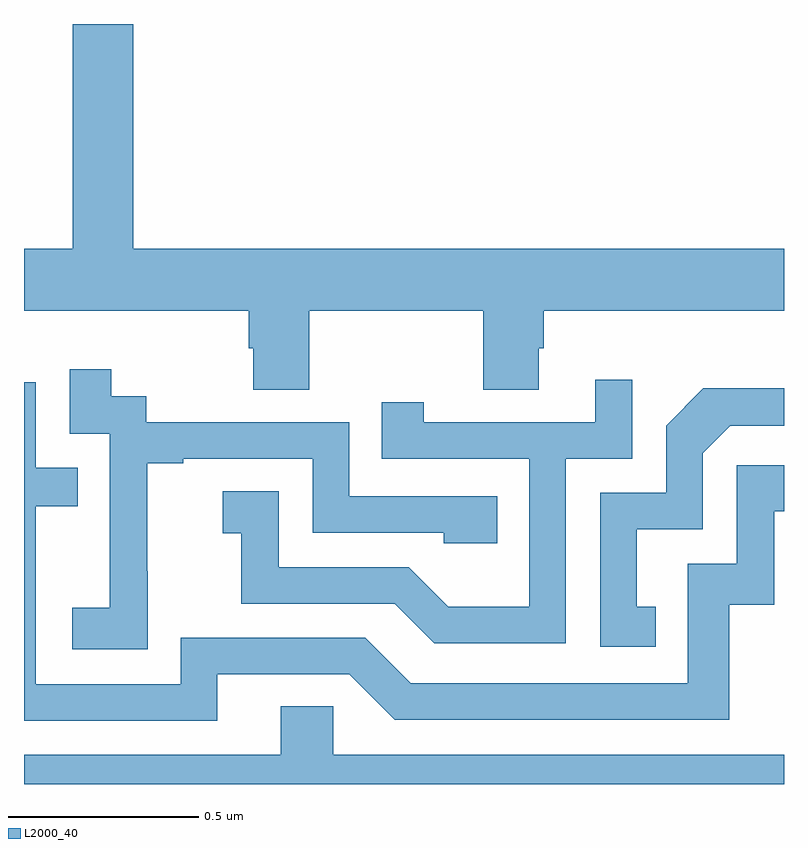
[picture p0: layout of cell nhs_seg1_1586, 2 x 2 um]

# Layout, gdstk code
import gdstk
lib = gdstk.Library(unit=1e-6, precision=1e-09)
def P(c, l, *ps):  # polygons
    for p in ps: c.add(gdstk.Polygon(p, *l))
L2000_40 = (2000, 40)

nhs_seg1_1586 = lib.new_cell('nhs_seg1_1586')
P(nhs_seg1_1586, L2000_40, [(131.751,506.444),(132.208,506.444),(132.208,506.236),(132.355,506.236),(132.355,506.346),(132.368,506.346),(132.368,506.444),(133,506.444),(133,506.608),(131.288,506.608),(131.288,507.199),(131.128,507.199),(131.128,506.608),(131,506.608),(131,506.444),(131.591,506.444),(131.591,506.346),(131.603,506.346),(131.603,506.236),(131.751,506.236)],
  [(131.325,505.759),(131.324,505.759),(131.324,506.043),(131.419,506.043),(131.419,506.055),(131.76,506.055),(131.76,505.86),(132.105,505.86),(132.105,505.833),(132.245,505.833),(132.245,505.956),(131.856,505.956),(131.856,506.151),(131.322,506.151),(131.322,506.22),(131.23,506.22),(131.23,506.29),(131.121,506.29),(131.121,506.121),(131.226,506.121),(131.226,505.892),(131.225,505.892),(131.225,505.663),(131.127,505.663),(131.127,505.553),(131.325,505.553)],
  [(132.426,506.055),(132.6,506.055),(132.6,506.263),(132.503,506.263),(132.503,506.151),(132.052,506.151),(132.052,506.203),(131.941,506.203),(131.941,506.055),(132.33,506.055),(132.33,505.666),(132.116,505.666),(132.012,505.77),(131.67,505.77),(131.67,505.969),(131.523,505.969),(131.523,505.859),(131.572,505.859),(131.572,505.674),(131.975,505.674),(132.08,505.569),(132.426,505.569)],
  [(131.509,505.488),(131.856,505.488),(131.976,505.368),(132.856,505.368),(132.856,505.671),(132.974,505.671),(132.974,505.917),(133,505.917),(133,506.038),(132.876,506.038),(132.876,505.779),(132.747,505.779),(132.747,505.464),(132.018,505.464),(131.898,505.584),(131.412,505.584),(131.412,505.461),(131.031,505.461),(131.031,505.93),(131.141,505.93),(131.141,506.031),(131.031,506.031),(131.031,506.256),(131,506.256),(131,505.365),(131.509,505.365)],
  [(132.662,505.665),(132.613,505.665),(132.613,505.869),(132.786,505.869),(132.786,506.07),(132.858,506.142),(133,506.142),(133,506.24),(132.788,506.24),(132.69,506.142),(132.69,505.965),(132.516,505.965),(132.516,505.56),(132.662,505.56)],
  [(133,505.276),(131.814,505.276),(131.814,505.403),(131.675,505.403),(131.675,505.276),(131,505.276),(131,505.199),(133,505.199)])

lib.write_gds('nhs_seg1_1586.gds')
